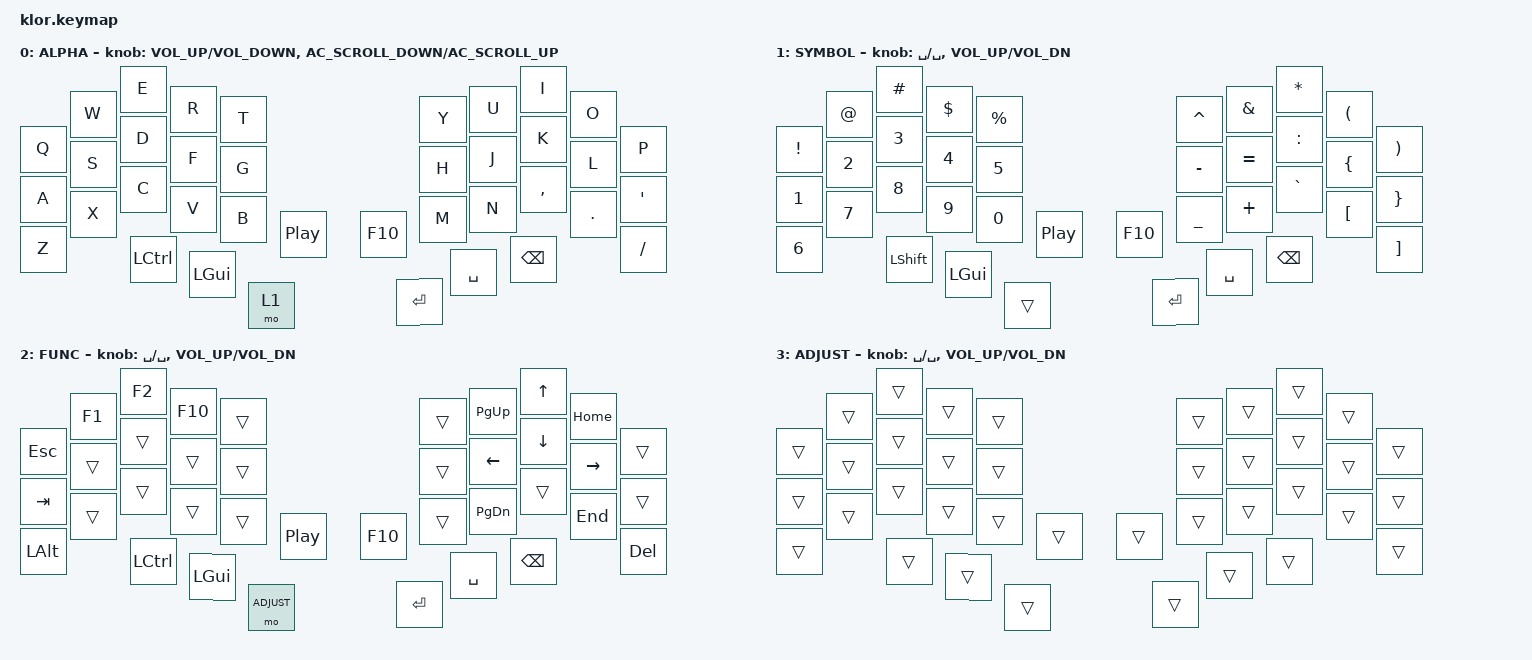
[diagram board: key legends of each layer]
//                               █         █    █            ▄▄▄▀▀▀▀▀▀▄▄▄        █▀▀▀▀▀▀▀▀▀▀█
//                               █        █     █          ▄▀            ▀▄      █          █
//                               █       █      █        ▄▀                ▀▄    █          █
//                               █      █       █        █                  █    █          █
//                               █     █        █       █                    █   █          █
//                               █    █         █       █                    █   █▄▄▄▄▄▄▄▄▄▄█
//                               █   █ █        █       █                    █   █      █
//                               █  █   █       █        █                  █    █       █
//                               █ █     █      █        ▀▄                ▄▀    █        █
//                               ██       █     █          ▀▄            ▄▀      █         █
//                               █         █    █▄▄▄▄▄▄▄▄    ▀▀▀▄▄▄▄▄▄▀▀▀        █          █
//
// ▄▄▄▄▄▄▄▄▄▄▄▄▄▄▄▄▄▄▄▄▄▄▄▄▄▄▄▄▄▄▄▄▄▄▄▄▄▄▄▄▄▄▄▄▄▄▄▄▄▄▄▄▄▄▄▄▄▄▄▄▄▄▄▄▄▄▄▄▄▄▄▄▄▄▄▄▄▄▄▄▄▄▄▄▄▄▄▄▄▄▄▄▄▄▄▄▄▄▄▄▄▄▄▄▄▄▄▄▄▄▄▄▄▄▄▄▄▄▄▄▄▄▄▄▄

#include <behaviors.dtsi>
#include <dt-bindings/zmk/keys.h>

#define ALPHA  0
#define SYMBOL 1
#define FUNC   2
#define ADJUST 3

/ {
    keymap {
        compatible = "zmk,keymap";

        alpha_layer {
            label = "ALPHA";
            bindings = <
              &kp Q  &kp W  &kp E             &kp R         &kp T                             &kp Y      &kp U      &kp I      &kp O       &kp P
              &kp A  &kp S  &kp D             &kp F         &kp G                             &kp H      &kp J      &kp K      &kp L       &kp APOS
              &kp Z  &kp X  &kp C             &kp V         &kp B                             &kp M      &kp N      &kp COMMA  &kp PERIOD  &kp SLASH
                            &kp LEFT_CONTROL  &kp LEFT_GUI  &mo 1  &kp C_PLAY_PAUSE  &kp F10  &kp ENTER  &kp SPACE  &kp BSPC
            >;

            sensor-bindings =
                <&inc_dec_kp C_VOLUME_UP C_VOLUME_DOWN>,
                <&inc_dec_kp C_AC_SCROLL_DOWN C_AC_SCROLL_UP>;
        };

        symbol_layer {
            label = "SYMBOL";
            bindings = <
              &kp EXCL      &kp AT        &kp HASH          &kp DOLLAR         &kp PERCENT                              &kp CARET  &kp AMPERSAND  &kp ASTERISK   &kp LEFT_PARENTHESIS  &kp RIGHT_PARENTHESIS
              &kp NUMBER_1  &kp NUMBER_2  &kp NUMBER_3      &kp NUMBER_4       &kp NUMBER_5                             &kp MINUS  &kp EQUAL      &kp COLON      &kp LEFT_BRACE        &kp RIGHT_BRACE
              &kp NUMBER_6  &kp NUMBER_7  &kp NUMBER_8      &kp NUMBER_9       &kp NUMBER_0                             &kp UNDER  &kp PLUS       &kp GRAVE      &kp LEFT_BRACKET      &kp RIGHT_BRACKET  
                                          &kp LEFT_SHIFT    &kp LEFT_GUI       &trans        &kp C_PLAY_PAUSE  &kp F10  &kp ENTER  &kp SPACE  &kp BSPC
            >;

            sensor-bindings = <
              &inc_dec_kp SPACE SPACE 
              &inc_dec_kp C_VOL_UP C_VOL_DN
            >;
        };

        func_layer {
            label = "FUNC";
            bindings = <
              &kp ESC       &kp F1  &kp F2   &kp F10  &trans                                                &trans     &kp PAGE_UP    &kp UP_ARROW    &kp HOME       &trans
              &kp TAB       &trans  &trans   &trans   &trans                                                &trans     &kp LEFT       &kp DOWN_ARROW  &kp RIGHT      &trans
              &kp LEFT_ALT  &trans  &trans   &trans   &trans                                                &trans     &kp PAGE_DOWN  &trans          &kp END        &kp DEL  
                                    &kp LEFT_CONTROL  &kp LEFT_GUI  &mo ADJUST &kp C_PLAY_PAUSE  &kp F10    &kp ENTER  &kp SPACE    &kp BACKSPACE
            >;

            sensor-bindings = <
              &inc_dec_kp SPACE SPACE 
              &inc_dec_kp C_VOL_UP C_VOL_DN
            >;
        };

        adjust_layer {
            label = "ADJUST";
            bindings = <
              &trans  &trans  &trans  &trans  &trans                  &trans  &trans  &trans  &trans  &trans
              &trans  &trans  &trans  &trans  &trans                  &trans  &trans  &trans  &trans  &trans
              &trans  &trans  &trans  &trans  &trans                  &trans  &trans  &trans  &trans  &trans
                              &trans  &trans  &trans  &trans  &trans  &trans  &trans  &trans
            >;

            sensor-bindings = <
              &inc_dec_kp SPACE SPACE 
              &inc_dec_kp C_VOL_UP C_VOL_DN
            >;
        };
    };
};
